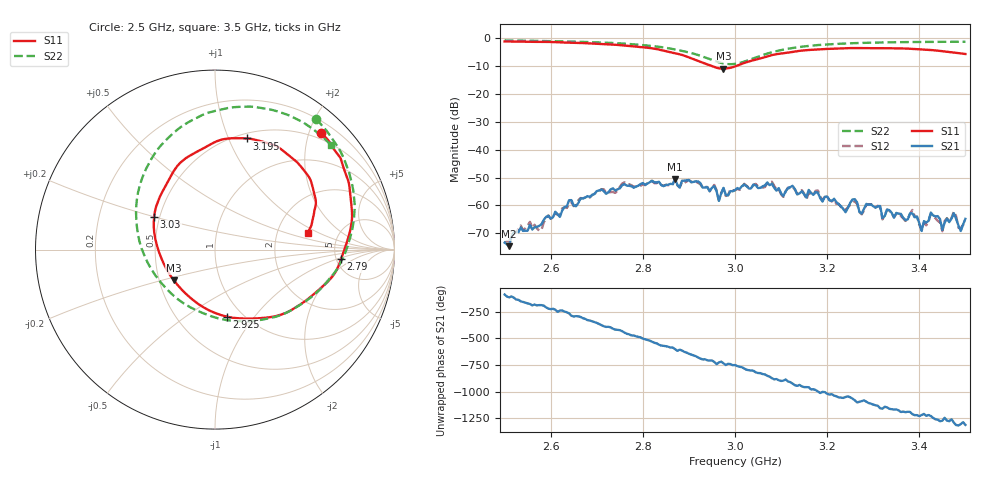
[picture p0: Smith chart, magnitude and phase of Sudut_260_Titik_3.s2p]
# Hz S RI R 50
! CMT, C1220, 16058040, 17.2.0/1
! Date: 15/08/2018 10:44:02
! Data: Format (Calibration Info)
! Freq  S11: Re/Im (F2)  S21: Re/Im (F2)  S12: Re/Im (F2)  S22: Re/Im (F2)
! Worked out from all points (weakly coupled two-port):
!   201 points, 2.5 GHz to 3.5 GHz, reference 50 ohm
!   highest |S21| = -50.51 dB at 2.87 GHz (marker M1); lowest = -74.7 dB at 2.51 GHz (marker M2)
!   lowest |S11| = -10.9 dB at 2.975 GHz (marker M3), VSWR 1.80, Z = 29.8 - j11.1 ohm
!   |S11| at or under -10 dB: 2.95 GHz to 3.001 GHz (51.01 MHz wide, 1.71 % of centre)
!   |S22| runs from -9.2 to -0.7 dB; largest |S21 - S12| = 0.00029
!   S11 on the Smith chart (normalised r, x): 2.5 GHz: 0.38, +2.20; 2.79 GHz: 5.53, -1.14; 2.925 GHz: 0.84, -0.74; 3.03 GHz: 0.47, +0.20; 3.195 GHz: 0.55, +1.17; 3.5 GHz: 2.98, +0.77
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2.5e9  0.5921 0.6522  1.08e-05 -0.000214  -1.88e-05 -0.000218  0.5635 0.7254
2.51e9  0.6063 0.6357  -7.68e-05 -0.000168  -3.79e-05 -0.000221  0.5752 0.7146
2.67e9  0.7496 0.3449  0.000856 0.00103  0.000935 0.000951  0.7382 0.4534
2.79e9  0.7029 -0.0517  -0.00128 -0.00186  -0.0013 -0.00169  0.7632 0.1064
2.835e9  0.5934 -0.2108  -0.00251 0.000868  -0.00249 0.000767  0.7034 -0.0661
2.87e9  0.4224 -0.3387  -0.0014 0.00263  -0.00147 0.00262  0.5989 -0.2088
2.925e9  0.0649 -0.3734  0.00218 0.00123  0.00202 0.00127  0.2989 -0.3832
2.955e9  -0.1236 -0.2796  0.00221 -4.16e-05  0.00233 3.04e-05  0.0638 -0.3926
2.965e9  -0.1811 -0.2275  0.0012 -0.000134  0.00122 -0.000198  -0.0185 -0.3719
2.975e9  -0.2301 -0.1705  0.002 -0.000523  0.00196 -0.000519  -0.0972 -0.3413
3e9  -0.3132 -0.0109  0.00162 -0.000961  0.00156 -0.00102  -0.2749 -0.2131
3.03e9  -0.3391 0.1812  0.000366 -0.00198  0.000408 -0.00203  -0.4091 0.00657
3.17e9  0.0915 0.62  -0.000308 0.00151  -0.000446 0.00147  -0.0891 0.7408
3.195e9  0.1765 0.6192  0.00039 0.00137  0.000476 0.00138  0.0023 0.773
3.335e9  0.4895 0.4494  0.000106 -0.000816  5.09e-05 -0.000805  0.392 0.7555
3.385e9  0.542 0.3565  -0.000489 -0.000523  -0.000526 -0.00064  0.4879 0.7106
3.405e9  0.5542 0.3063  -0.000272 -0.000215  -0.000316 -0.000168  0.519 0.6892
3.425e9  0.5622 0.2601  -0.000647 -0.000367  -0.000626 -0.000341  0.5493 0.6692
3.45e9  0.5522 0.2055  -0.000351 8.99e-05  -0.00034 5.74e-05  0.5854 0.6405
3.475e9  0.5387 0.1413  -0.000606 0.000389  -0.00069 0.000361  0.6162 0.6131
3.49e9  0.5259 0.1117  -0.000238 0.000252  -0.000256 0.000296  0.6339 0.5947
3.5e9  0.5161 0.0936  -0.00034 0.000463  -0.000258 0.000418  0.6451 0.5835
